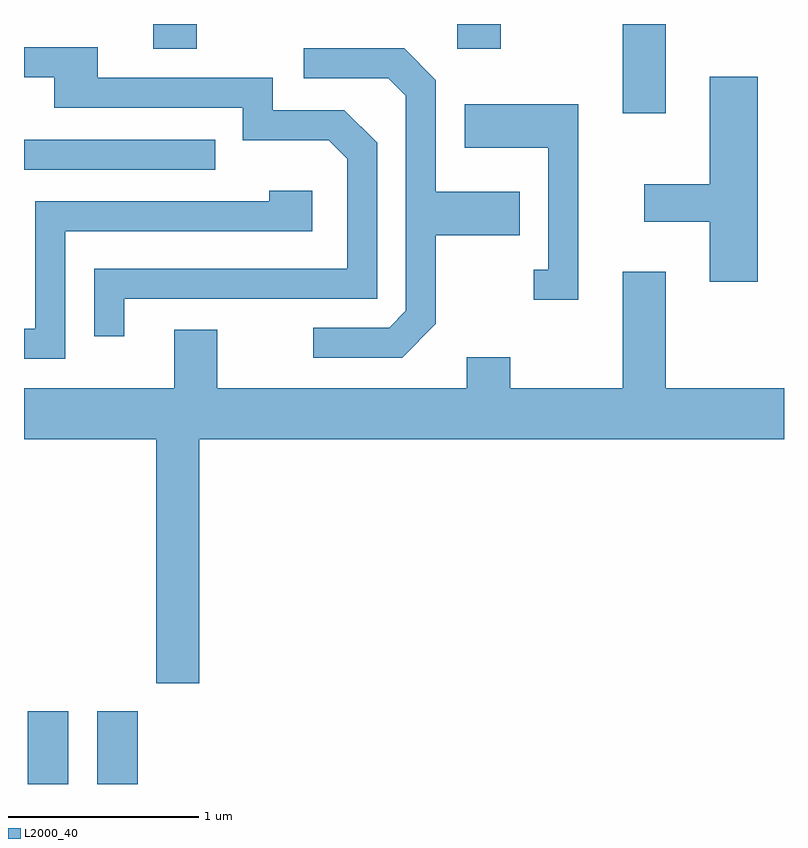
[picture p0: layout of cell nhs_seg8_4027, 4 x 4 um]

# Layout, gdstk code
import gdstk
lib = gdstk.Library(unit=1e-6, precision=1e-09)
def R(c, l, rs):  # rectangles x0, y0, x1, y1
    for r in rs: c.add(gdstk.rectangle(r[:2], r[2:], *l))
def P(c, l, *ps):  # polygons
    for p in ps: c.add(gdstk.Polygon(p, *l))
L2000_40 = (2000, 40)

nhs_seg8_4027 = lib.new_cell('nhs_seg8_4027')
R(nhs_seg8_4027, L2000_40, [(305.631,1872.342,305.844,1872.724), (305.996,1872.342,306.209,1872.724), (305.611,1875.576,306.618,1875.734), (308.761,1875.871,308.989,1876.342), (306.291,1876.211,306.519,1876.342), (307.891,1876.211,308.119,1876.342)])
P(nhs_seg8_4027, L2000_40, [(306.139,1874.896),(307.469,1874.896),(307.469,1875.717),(307.297,1875.889),(306.919,1875.889),(306.919,1876.059),(305.999,1876.059),(305.999,1876.219),(305.611,1876.219),(305.611,1876.061),(305.771,1876.061),(305.771,1875.901),(306.761,1875.901),(306.761,1875.731),(307.214,1875.731),(307.311,1875.634),(307.311,1875.054),(305.981,1875.054),(305.981,1874.698),(306.139,1874.698)],
  [(307.779,1874.764),(307.779,1875.231),(308.219,1875.231),(308.219,1875.459),(307.779,1875.459),(307.779,1876.047),(307.612,1876.214),(307.083,1876.214),(307.083,1876.056),(307.529,1876.056),(307.621,1875.964),(307.621,1874.832),(307.534,1874.744),(307.133,1874.744),(307.133,1874.586),(307.602,1874.586)],
  [(309.474,1876.064),(309.221,1876.064),(309.221,1875.499),(308.876,1875.499),(308.876,1875.301),(309.221,1875.301),(309.221,1874.986),(309.474,1874.986)],
  [(308.529,1875.919),(307.931,1875.919),(307.931,1875.691),(308.371,1875.691),(308.371,1875.049),(308.293,1875.049),(308.293,1874.891),(308.529,1874.891)],
  [(305.829,1875.251),(307.129,1875.251),(307.129,1875.464),(306.901,1875.464),(306.901,1875.409),(305.671,1875.409),(305.671,1874.739),(305.611,1874.739),(305.611,1874.581),(305.829,1874.581)],
  [(306.534,1874.156),(309.611,1874.156),(309.611,1874.424),(308.989,1874.424),(308.989,1875.039),(308.761,1875.039),(308.761,1874.424),(308.169,1874.424),(308.169,1874.589),(307.941,1874.589),(307.941,1874.424),(306.629,1874.424),(306.629,1874.734),(306.401,1874.734),(306.401,1874.424),(305.611,1874.424),(305.611,1874.156),(306.306,1874.156),(306.306,1872.871),(306.534,1872.871)])

lib.write_gds('nhs_seg8_4027.gds')
